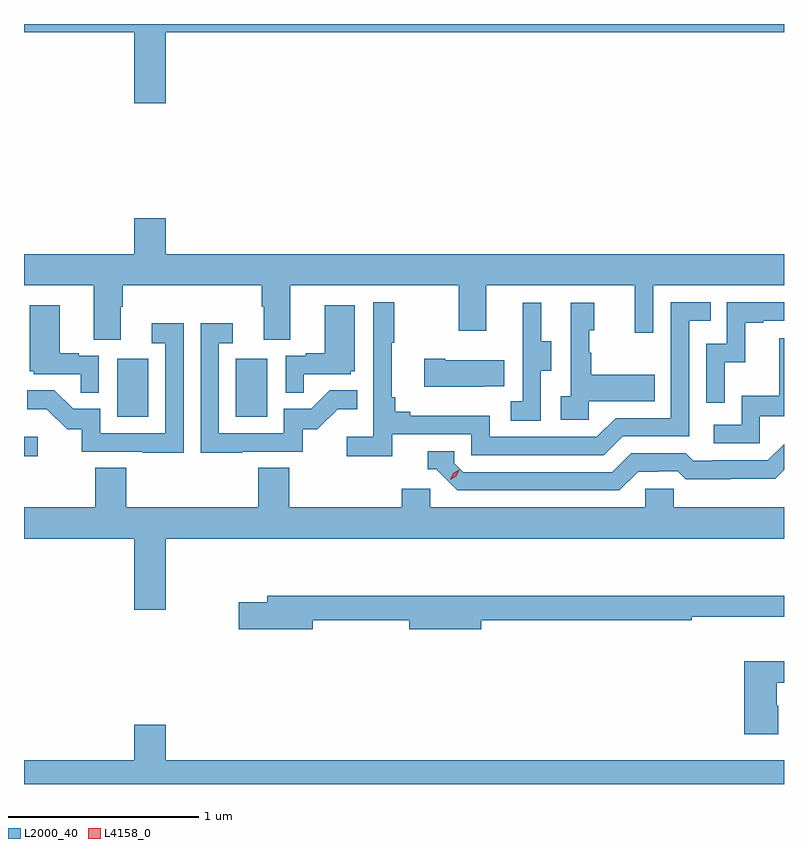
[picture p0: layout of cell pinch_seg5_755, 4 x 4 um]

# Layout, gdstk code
import gdstk
lib = gdstk.Library(unit=1e-6, precision=1e-09)
def R(c, l, rs):  # rectangles x0, y0, x1, y1
    for r in rs: c.add(gdstk.rectangle(r[:2], r[2:], *l))
def P(c, l, *ps):  # polygons
    for p in ps: c.add(gdstk.Polygon(p, *l))
L2000_40 = (2000, 40)
L4158_0 = (4158, 0)

pinch_seg5_755 = lib.new_cell('pinch_seg5_755')
R(pinch_seg5_755, L2000_40, [(823.767,909.142,823.84,909.244), (824.258,909.348,824.422,909.655), (824.882,909.348,825.046,909.655)])
P(pinch_seg5_755, L2000_40, [(824.512,911.372),(827.767,911.372),(827.767,911.416),(823.767,911.416),(823.767,911.372),(824.348,911.372),(824.348,910.998),(824.512,910.998)],
  [(824.275,909.928),(824.288,909.928),(824.288,910.04),(825.017,910.04),(825.017,909.928),(825.029,909.928),(825.029,909.754),(825.169,909.754),(825.169,910.04),(826.054,910.04),(826.054,909.801),(826.201,909.801),(826.201,910.04),(826.982,910.04),(826.982,909.792),(827.079,909.792),(827.079,910.04),(827.767,910.04),(827.767,910.204),(824.512,910.204),(824.512,910.393),(824.348,910.393),(824.348,910.204),(823.767,910.204),(823.767,910.04),(824.135,910.04),(824.135,909.754),(824.275,909.754)],
  [(825.704,909.258),(826.122,909.258),(826.122,909.147),(826.819,909.147),(826.918,909.246),(827.268,909.246),(827.268,909.855),(827.381,909.855),(827.381,909.951),(827.172,909.951),(827.172,909.342),(826.881,909.342),(826.782,909.243),(826.218,909.243),(826.218,909.355),(825.799,909.355),(825.799,909.374),(825.722,909.374),(825.722,909.451),(825.703,909.451),(825.703,909.739),(825.715,909.739),(825.715,909.952),(825.606,909.952),(825.606,909.244),(825.465,909.244),(825.465,909.142),(825.704,909.142)],
  [(827.454,909.635),(827.564,909.635),(827.564,909.843),(827.659,909.843),(827.659,909.855),(827.767,909.855),(827.767,909.951),(827.466,909.951),(827.466,909.732),(827.358,909.732),(827.358,909.423),(827.454,909.423)],
  [(826.488,909.592),(826.543,909.592),(826.543,909.747),(826.489,909.747),(826.489,909.949),(826.391,909.949),(826.391,909.735),(826.392,909.735),(826.392,909.431),(826.329,909.431),(826.329,909.328),(826.488,909.328)],
  [(826.74,909.431),(827.087,909.431),(827.087,909.571),(826.753,909.571),(826.753,909.686),(826.743,909.686),(826.743,909.804),(826.768,909.804),(826.768,909.949),(826.644,909.949),(826.644,909.458),(826.593,909.458),(826.593,909.333),(826.74,909.333)],
  [(824.16,909.669),(824.054,909.669),(824.054,909.682),(823.954,909.682),(823.954,909.937),(823.796,909.937),(823.796,909.588),(823.818,909.588),(823.818,909.573),(824.065,909.573),(824.065,909.475),(824.16,909.475)],
  [(825.239,909.573),(825.486,909.573),(825.486,909.588),(825.508,909.588),(825.508,909.937),(825.35,909.937),(825.35,909.682),(825.251,909.682),(825.251,909.669),(825.144,909.669),(825.144,909.475),(825.239,909.475)],
  [(824.915,909.165),(825.234,909.165),(825.234,909.282),(825.31,909.282),(825.417,909.389),(825.521,909.389),(825.521,909.488),(825.377,909.488),(825.279,909.39),(825.135,909.39),(825.135,909.261),(824.793,909.261),(824.793,909.735),(824.866,909.735),(824.866,909.841),(824.697,909.841),(824.697,909.16),(824.915,909.16)],
  [(824.607,909.841),(824.439,909.841),(824.439,909.735),(824.511,909.735),(824.511,909.261),(824.169,909.261),(824.169,909.39),(824.025,909.39),(823.927,909.488),(823.783,909.488),(823.783,909.389),(823.887,909.389),(823.994,909.282),(824.071,909.282),(824.071,909.165),(824.389,909.165),(824.389,909.16),(824.607,909.16)],
  [(827.64,909.351),(827.767,909.351),(827.767,909.763),(827.743,909.763),(827.743,909.46),(827.544,909.46),(827.544,909.306),(827.397,909.306),(827.397,909.21),(827.64,909.21)],
  [(826.187,909.509),(826.295,909.509),(826.295,909.646),(825.985,909.646),(825.985,909.654),(825.873,909.654),(825.873,909.506),(826.187,909.506)],
  [(826.999,909.06),(827.106,909.06),(827.106,909.063),(827.209,909.063),(827.251,909.021),(827.484,909.021),(827.484,909.023),(827.72,909.023),(827.767,909.07),(827.767,909.205),(827.682,909.12),(827.389,909.12),(827.389,909.117),(827.29,909.117),(827.251,909.156),(826.962,909.156),(826.863,909.057),(826.08,909.057),(826.032,909.105),(826.032,909.168),(825.893,909.168),(825.893,909.072),(825.936,909.072),(826.047,908.961),(826.9,908.961)],
  [(824.512,908.708),(827.767,908.708),(827.767,908.872),(827.187,908.872),(827.187,908.97),(827.037,908.97),(827.037,908.872),(825.906,908.872),(825.906,908.97),(825.755,908.97),(825.755,908.872),(825.164,908.872),(825.164,909.08),(824.999,909.08),(824.999,908.872),(824.306,908.872),(824.306,909.08),(824.141,909.08),(824.141,908.872),(823.767,908.872),(823.767,908.708),(824.348,908.708),(824.348,908.334),(824.512,908.334)],
  [(825.286,908.278),(825.794,908.278),(825.794,908.231),(826.174,908.231),(826.174,908.278),(827.281,908.278),(827.281,908.296),(827.767,908.296),(827.767,908.407),(825.047,908.407),(825.047,908.373),(824.898,908.373),(824.898,908.231),(825.286,908.231)],
  [(827.736,907.827),(827.728,907.827),(827.728,907.95),(827.767,907.95),(827.767,908.061),(827.558,908.061),(827.558,907.677),(827.736,907.677)],
  [(827.767,907.54),(824.512,907.54),(824.512,907.729),(824.348,907.729),(824.348,907.54),(823.767,907.54),(823.767,907.416),(827.767,907.416)])
P(pinch_seg5_755, L4158_0, [(826.01,909.018),(826.01,909.018),(826.026,909.051),(826.057,909.07),(826.057,909.07),(826.057,909.07),(826.041,909.037),(826.01,909.018)])

lib.write_gds('pinch_seg5_755.gds')
